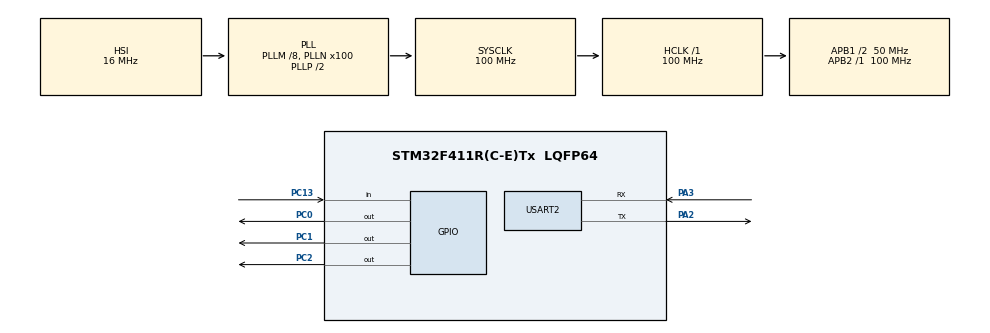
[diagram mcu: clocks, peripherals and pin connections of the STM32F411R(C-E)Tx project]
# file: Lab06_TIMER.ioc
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Mcu.Family=STM32F4
Mcu.Name=STM32F411R(C-E)Tx
Mcu.Package=LQFP64
NVIC.PriorityGroup=NVIC_PRIORITYGROUP_2
NVIC.TIM1_UP_TIM10_IRQn=true\:1\:0\:true\:false\:true\:true
NVIC.TIM2_IRQn=true\:2\:0\:true\:false\:true\:true
PA2.Mode=Asynchronous
PA2.Signal=USART2_TX
PA3.Mode=Asynchronous
PA3.Signal=USART2_RX
PC0.Signal=GPIO_Output
PC1.Signal=GPIO_Output
PC13-ANTI_TAMP.Signal=GPIO_Input
PC2.Signal=GPIO_Output
ProjectManager.HeapSize=0x200
ProjectManager.StackSize=0x400
ProjectManager.TargetToolchain=MDK-ARM V5
RCC.48MHZClocksFreq_Value=50000000
RCC.AHBFreq_Value=100000000
RCC.APB1CLKDivider=RCC_HCLK_DIV2
RCC.APB1Freq_Value=50000000
RCC.APB1TimFreq_Value=100000000
RCC.APB2Freq_Value=100000000
RCC.APB2TimFreq_Value=100000000
RCC.CortexFreq_Value=100000000
RCC.FLatency-AdvancedSettings=FLASH_LATENCY_3
RCC.HCLKFreq_Value=100000000
RCC.HSE_VALUE=8000000
RCC.HSI_VALUE=16000000
RCC.LSE_VALUE=32768
RCC.PLLM=8
RCC.PLLN=100
RCC.SYSCLKFreq_VALUE=100000000
RCC.SYSCLKSource=RCC_SYSCLKSOURCE_PLLCLK
RCC.VCOOutputFreq_Value=200000000
TIM1.Period=1000-1
TIM1.Prescaler=100-1
TIM2.Period=400000-1
TIM2.Prescaler=100-1
USART2.VirtualMode=VM_ASYNC
VP_TIM1_VS_ClockSourceINT.Mode=Internal
VP_TIM2_VS_ClockSourceINT.Mode=Internal
board=NUCLEO-F411RE

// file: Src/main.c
/* USER CODE BEGIN Header */
/**
  ******************************************************************************
  * @file           : main.c
  * @brief          : Main program body
  ******************************************************************************
  ** This notice applies to any and all portions of this file
  * that are not between comment pairs USER CODE BEGIN and
  * USER CODE END. Other portions of this file, whether
  * inserted by the user or by software development tools
  * are owned by their respective copyright owners.
  *
  * COPYRIGHT(c) 2019 STMicroelectronics
  *
  * Redistribution and use in source and binary forms, with or without modification,
  * are permitted provided that the following conditions are met:
  *   1. Redistributions of source code must retain the above copyright notice,
  *      this list of conditions and the following disclaimer.
  *   2. Redistributions in binary form must reproduce the above copyright notice,
  *      this list of conditions and the following disclaimer in the documentation
  *      and/or other materials provided with the distribution.
  *   3. Neither the name of STMicroelectronics nor the names of its contributors
  *      may be used to endorse or promote products derived from this software
  *      without specific prior written permission.
  *
  * THIS SOFTWARE IS PROVIDED BY THE COPYRIGHT HOLDERS AND CONTRIBUTORS "AS IS"
  * AND ANY EXPRESS OR IMPLIED WARRANTIES, INCLUDING, BUT NOT LIMITED TO, THE
  * IMPLIED WARRANTIES OF MERCHANTABILITY AND FITNESS FOR A PARTICULAR PURPOSE ARE
  * DISCLAIMED. IN NO EVENT SHALL THE COPYRIGHT HOLDER OR CONTRIBUTORS BE LIABLE
  * FOR ANY DIRECT, INDIRECT, INCIDENTAL, SPECIAL, EXEMPLARY, OR CONSEQUENTIAL
  * DAMAGES (INCLUDING, BUT NOT LIMITED TO, PROCUREMENT OF SUBSTITUTE GOODS OR
  * SERVICES; LOSS OF USE, DATA, OR PROFITS; OR BUSINESS INTERRUPTION) HOWEVER
  * CAUSED AND ON ANY THEORY OF LIABILITY, WHETHER IN CONTRACT, STRICT LIABILITY,
  * OR TORT (INCLUDING NEGLIGENCE OR OTHERWISE) ARISING IN ANY WAY OUT OF THE USE
  * OF THIS SOFTWARE, EVEN IF ADVISED OF THE POSSIBILITY OF SUCH DAMAGE.
  *
  ******************************************************************************
  */
/* USER CODE END Header */

#include "main.h"
#include "tim.h"
#include "usart.h"
#include "gpio.h"

/* USER CODE BEGIN Includes */
#include "string.h"
/* USER CODE END Includes */

/* USER CODE BEGIN PV */
uint32_t count, mm, ss, ms;
uint8_t error_value = 8; // error 20 ms per 1000 ms , subtract 8 ms per 400ms
char times[7];
/* USER CODE END PV */

void SystemClock_Config(void);
/* USER CODE BEGIN PFP */
void displayNumber(uint32_t);
void displayTime(uint32_t);
/* USER CODE END PFP */

/* USER CODE BEGIN 0 */
int con = 0;
/* USER CODE END 0 */

int main(void)
{

  /* MCU Configuration--------------------------------------------------------*/

  /* Reset of all peripherals, Initializes the Flash interface and the Systick. */
  HAL_Init();

  /* Configure the system clock */
  SystemClock_Config();

  /* Initialize all configured peripherals */
  MX_GPIO_Init();
  MX_TIM1_Init();
  MX_TIM2_Init();
  MX_USART2_UART_Init();
  /* USER CODE BEGIN 2 */
	HAL_TIM_Base_Start_IT(&htim1);
	HAL_TIM_Base_Start_IT(&htim2);
  /* USER CODE END 2 */

  /* Infinite loop */
  /* USER CODE BEGIN WHILE */
  while (1)
  {
		/*
		// Ex.1
		displayNumber(count);
		HAL_Delay(400);
		*/
    /* USER CODE END WHILE */

  }
}

void SystemClock_Config(void)
{
  RCC_OscInitTypeDef RCC_OscInitStruct = {0};
  RCC_ClkInitTypeDef RCC_ClkInitStruct = {0};

  /**Configure the main internal regulator output voltage
  */
  __HAL_RCC_PWR_CLK_ENABLE();
  __HAL_PWR_VOLTAGESCALING_CONFIG(PWR_REGULATOR_VOLTAGE_SCALE1);
  /**Initializes the CPU, AHB and APB busses clocks
  */
  RCC_OscInitStruct.OscillatorType = RCC_OSCILLATORTYPE_HSI;
  RCC_OscInitStruct.HSIState = RCC_HSI_ON;
  RCC_OscInitStruct.HSICalibrationValue = RCC_HSICALIBRATION_DEFAULT;
  RCC_OscInitStruct.PLL.PLLState = RCC_PLL_ON;
  RCC_OscInitStruct.PLL.PLLSource = RCC_PLLSOURCE_HSI;
  RCC_OscInitStruct.PLL.PLLM = 8;
  RCC_OscInitStruct.PLL.PLLN = 100;
  RCC_OscInitStruct.PLL.PLLP = RCC_PLLP_DIV2;
  RCC_OscInitStruct.PLL.PLLQ = 4;
  if (HAL_RCC_OscConfig(&RCC_OscInitStruct) != HAL_OK)
  {
    Error_Handler();
  }
  /**Initializes the CPU, AHB and APB busses clocks
  */
  RCC_ClkInitStruct.ClockType = RCC_CLOCKTYPE_HCLK|RCC_CLOCKTYPE_SYSCLK
                              |RCC_CLOCKTYPE_PCLK1|RCC_CLOCKTYPE_PCLK2;
  RCC_ClkInitStruct.SYSCLKSource = RCC_SYSCLKSOURCE_PLLCLK;
  RCC_ClkInitStruct.AHBCLKDivider = RCC_SYSCLK_DIV1;
  RCC_ClkInitStruct.APB1CLKDivider = RCC_HCLK_DIV2;
  RCC_ClkInitStruct.APB2CLKDivider = RCC_HCLK_DIV1;

  if (HAL_RCC_ClockConfig(&RCC_ClkInitStruct, FLASH_LATENCY_3) != HAL_OK)
  {
    Error_Handler();
  }
}

/* USER CODE BEGIN 4 */
void displayTime(uint32_t value){
	char time[7];
	sprintf(time,"%02d:%02d:%02d\r", (value/(60*1000))%60, (value/1000)%60, (value/10)%100);
	while(__HAL_UART_GET_FLAG(&huart2,UART_FLAG_TC)==RESET);
	HAL_UART_Transmit(&huart2, (uint8_t*) time, strlen(time),1000);
	if(HAL_GPIO_ReadPin(GPIOC, GPIO_PIN_13) == GPIO_PIN_RESET){
		con++ ;
		if (con == 1)
		{
			GPIOC->ODR = 0x4;
			sprintf(time,"%02d:%02d:%02d\r\n", (value/(60*1000))%60, (value/1000)%60, (value/10)%100);
			while(__HAL_UART_GET_FLAG(&huart2,UART_FLAG_TC)==RESET);
			HAL_UART_Transmit(&huart2, (uint8_t*) time, strlen(time),1000);
			HAL_Delay(500);
		}
		else if (con == 2)
		{
			GPIOC->ODR = 0x6;
			sprintf(time,"%02d:%02d:%02d\r\n", (value/(60*1000))%60, (value/1000)%60, (value/10)%100);
			while(__HAL_UART_GET_FLAG(&huart2,UART_FLAG_TC)==RESET);
			HAL_UART_Transmit(&huart2, (uint8_t*) time, strlen(time),1000);
			HAL_Delay(500);
		}
		else if (con == 3)
		{
			GPIOC->ODR = 0x6;
			sprintf(time,"%02d:%02d:%02d\r\n", (value/(60*1000))%60, (value/1000)%60, (value/10)%100);
			while(__HAL_UART_GET_FLAG(&huart2,UART_FLAG_TC)==RESET);
			HAL_UART_Transmit(&huart2, (uint8_t*) time, strlen(time),1000);
			HAL_Delay(500);
		}
		else if (con == 4)
		{
			GPIOC->ODR = 0x6;
			sprintf(time,"%02d:%02d:%02d\r\n", (value/(60*1000))%60, (value/1000)%60, (value/10)%100);
			while(__HAL_UART_GET_FLAG(&huart2,UART_FLAG_TC)==RESET);
			HAL_UART_Transmit(&huart2, (uint8_t*) time, strlen(time),1000);
			HAL_Delay(500);
		}
		else if (con == 5)
		{
			GPIOC->ODR = 0x7;sprintf(time,"%02d:%02d:%02d\r\n", (value/(60*1000))%60, (value/1000)%60, (value/10)%100);
			while(__HAL_UART_GET_FLAG(&huart2,UART_FLAG_TC)==RESET);
			HAL_UART_Transmit(&huart2, (uint8_t*) time, strlen(time),1000);
			HAL_Delay(500);
			HAL_TIM_Base_Stop_IT(&htim1);
			HAL_TIM_Base_Stop_IT(&htim2);

		}
	}
}
/* USER CODE END 4 */

void Error_Handler(void)
{
}

/************************ (C) COPYRIGHT STMicroelectronics *****END OF FILE****/
